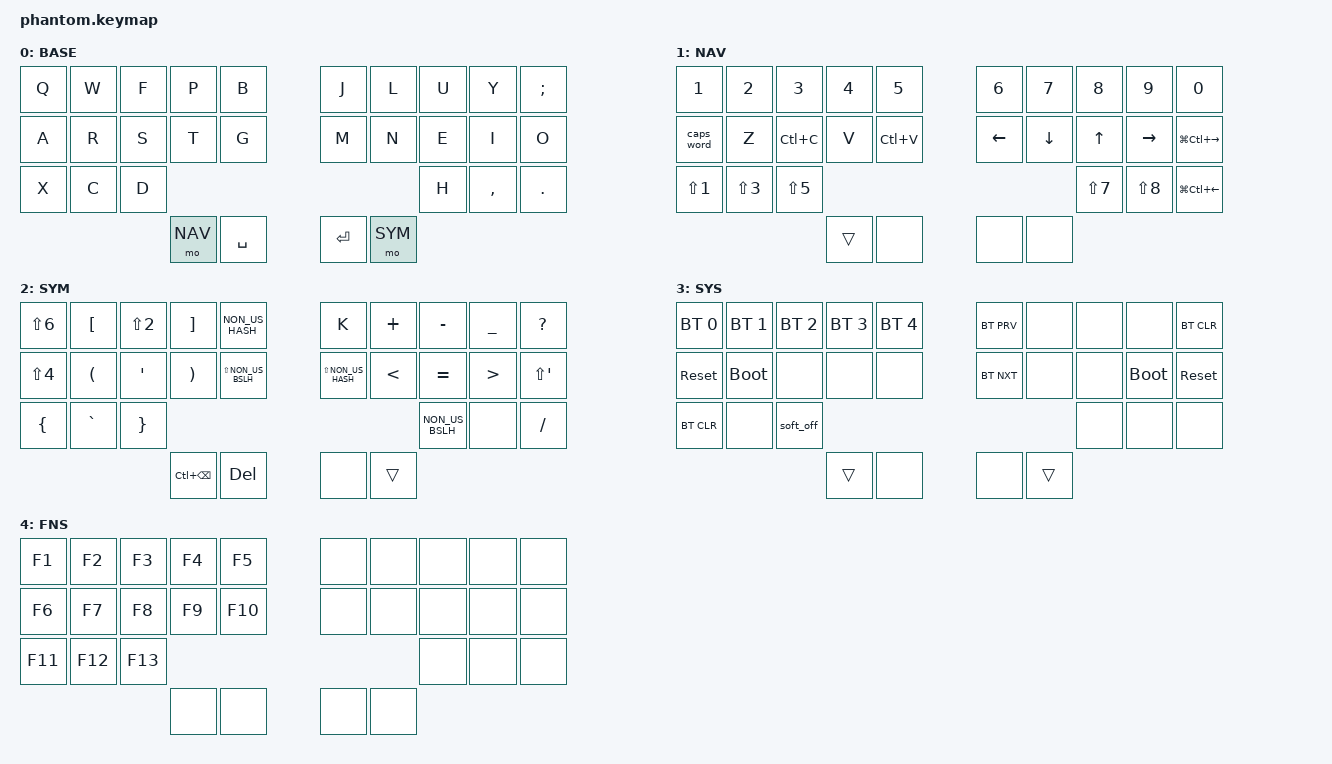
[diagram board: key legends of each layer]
/*
 * Copyright (c) 2020 The ZMK Contributors
 *
 * SPDX-License-Identifier: MIT
 */

#include <behaviors.dtsi>
#include <dt-bindings/zmk/keys.h>
#include <dt-bindings/zmk/bt.h>

#define BASE 0
#define NAV 1
#define SYM 2
#define SYS 3
#define FNS 4

&soft_off {
    split-peripheral-off-on-press;
};

/ { 

/*           30 Keys
╭──────────────╮ ╭──────────────╮
│ 0  1  2  3  4│ │ 5  6  7  8  9│
│10 11 12 13 14│ │15 16 17 18 19│
│   20 21 22   │ │   23 24 25   │
╰────────╮26 27│ │28 29╭────────╯
         ╰─────╯ ╰─────╯       */

    combos {
			compatible = "zmk,combos";

			combo_shift_l {
				key-positions = <3 13>;
				bindings = <&kp LSHIFT>;
			};

			combo_shift_r {
				key-positions = <6 16>;
				bindings = <&kp LSHIFT>;
			};

			combo_ctrl_l {
				key-positions = <2 12>;
				bindings = <&kp LCTRL>;
			};

			combo_ctrl_r {
				key-positions = <7 17>;
				bindings = <&kp LCTRL>;
			};

			combo_gui_l {
				key-positions = <1 11>;
				bindings = <&kp LGUI>;
			};

			combo_gui_r {
				key-positions = <8 18>;
				bindings = <&kp LGUI>;
			};

			combo_alt_l {
				key-positions = <0 10>;
				bindings = <&kp LALT>;
			};

			combo_alt_r {
				key-positions = <9 19>;
				bindings = <&kp LALT>;
			};

			combo_bkspc {
				key-positions = <26 27>;
				bindings = <&kp BSPC>;
			};

			combo_syslayer {
				key-positions = <26 29>;
				bindings = <&mo SYS>;
			};

			combo_fnlayer {
				key-positions = <23 25>;
				bindings = <&mo FNS>;
			};

			combo_esc {
				key-positions = <5 15>;
				bindings = <&kp ESC>;
			};

			combo_tab {
				key-positions = <4 14>;
				bindings = <&kp TAB>;
			};

			combo_tmux_prefix {
				key-positions = <28 29>;
				bindings = <&kp LC(A)>;
			};

			combo_sys_left {
				key-positions = <10 14>;
				bindings = <&mo SYS>;
			};

			combo_sys_right {
				key-positions = <15 19>;
				bindings = <&mo SYS>;
			};
		};

		keymap {
			compatible = "zmk,keymap";

			base {
				label = "BASE";
				bindings = <
					&kp Q		&kp W		&kp F		&kp P		&kp B						&kp J		&kp L		&kp U		&kp Y		&kp SEMI
					&kp A		&kp R		&kp S		&kp T		&kp G						&kp M		&kp N		&kp E		&kp I		&kp O
						      &kp X		&kp C		&kp D								            &kp H		&kp COMMA	&kp DOT 
					&mo NAV		&kp SPACE					&kp RET		&mo SYM
					>;
			};

			nav {
				label = "NAV";
				bindings = <
					&kp N1		 &kp N2		&kp N3		&kp N4		&kp N5						&kp N6		&kp	N7		 &kp N8		&kp N9		&kp N0
					&caps_word &kp Z		&kp LC(C)	  &kp V		&kp LC(V)					    &kp LEFT	&kp DOWN	 &kp UP		&kp RIGHT &kp LG(LC(RIGHT))
						     &kp LS(N1)	&kp LS(N3)	&kp LS(N5)							                  &kp	LS(N7) &kp LS(N8)	&kp LG(LC(LEFT))
					&trans		&none						&none		&none
					>;
			};

			sym {
				label = "SYM";
				bindings = <
					&kp LS(N6)	&kp LBKT	&kp LS(N2)	&kp RBKT	&kp NON_US_HASH					  &kp K	&kp PLUS	&kp MINUS	&kp UNDER	&kp QMARK
					&kp LS(N4)	&kp LPAR	&kp SQT		&kp RPAR	&kp	LS(NON_US_BSLH)					&kp LS(NON_US_HASH)	&kp LT	&kp EQUAL	&kp GT 	&kp LS(SQT)
					            &kp	LBRC	&kp GRAVE	&kp RBRC								                       &kp NON_US_BSLH	&none	&kp SLASH
					&kp LC(BSPC)	&kp DEL						&none		&trans
					>;
			};

			sys {
				label = "SYS";
				bindings = <
					&bt BT_SEL 0	&bt BT_SEL 1	&bt BT_SEL 2	&bt BT_SEL 3	&bt BT_SEL 4		&bt BT_PRV	&none		&none		&none		&bt BT_CLR
					&sys_reset		&bootloader		&none		&none		&none					&bt BT_NXT		&none		&none		&bootloader &sys_reset
					              &bt BT_CLR		&none		&soft_off									&none		&none	&none												
					&trans		&none						&none		&trans
					>;
			}; 

			fns {
				label = "FNS";
				bindings = <
					&kp F1		&kp F2		&kp F3		&kp F4		&kp F5						&none		&none		&none		&none		&none
					&kp F6		&kp F7		&kp F8		&kp F9		&kp F10						&none		&none		&none		&none		&none
					          &kp F11		&kp F12		&kp F13							                &none		&none		&none
					&none		&none						&none		&none
					>;
			};            
		};
};
